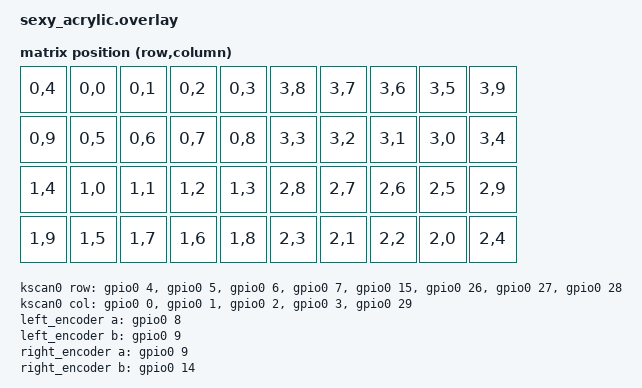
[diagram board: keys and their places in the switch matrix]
/*
 * Copyright (c) 2022 Gleb Sabirzyanov
 *
 * SPDX-License-Identifier: MIT
 */

#include <dt-bindings/zmk/matrix_transform.h>

/ {
	chosen {
		zmk,kscan = &kscan0;
		zmk,matrix_transform = &default_transform;
	};

	kscan0: kscan {
		compatible = "zmk,kscan-gpio-matrix";
		label = "KSCAN";

		diode-direction = "col2row";

    col-gpios
	    = <&gpio0 0 GPIO_ACTIVE_HIGH>
	    , <&gpio0 1 GPIO_ACTIVE_HIGH>
	    , <&gpio0 2 GPIO_ACTIVE_HIGH>
	    , <&gpio0 3 GPIO_ACTIVE_HIGH>
	    , <&gpio0 29 GPIO_ACTIVE_HIGH>
	    ;

    row-gpios
      = <&gpio0 4 (GPIO_ACTIVE_HIGH | GPIO_PULL_DOWN)>
      , <&gpio0 5 (GPIO_ACTIVE_HIGH | GPIO_PULL_DOWN)>
      , <&gpio0 6 (GPIO_ACTIVE_HIGH | GPIO_PULL_DOWN)>
      , <&gpio0 7 (GPIO_ACTIVE_HIGH | GPIO_PULL_DOWN)>
      , <&gpio0 15 (GPIO_ACTIVE_HIGH | GPIO_PULL_DOWN)>
      , <&gpio0 26 (GPIO_ACTIVE_HIGH | GPIO_PULL_DOWN)>
      , <&gpio0 27 (GPIO_ACTIVE_HIGH | GPIO_PULL_DOWN)>
      , <&gpio0 28 (GPIO_ACTIVE_HIGH | GPIO_PULL_DOWN)>
      ;
	};

  default_transform: keymap_transform_0 {
      compatible = "zmk,matrix-transform";
      columns = <10>;
      rows = <4>;
      map = <
        RC(0,4) RC(0,0) RC(0,1) RC(0,2) RC(0,3) RC(3,8) RC(3,7) RC(3,6) RC(3,5) RC(3,9) 
        RC(0,9) RC(0,5) RC(0,6) RC(0,7) RC(0,8) RC(3,3) RC(3,2) RC(3,1) RC(3,0) RC(3,4) 
        RC(1,4) RC(1,0) RC(1,1) RC(1,2) RC(1,3) RC(2,8) RC(2,7) RC(2,6) RC(2,5) RC(2,9) 
        RC(1,9) RC(1,5) RC(1,7) RC(1,6) RC(1,8) RC(2,3) RC(2,1) RC(2,2) RC(2,0) RC(2,4)
      >;
  };

  left_encoder: encoder_left {
    compatible = "alps,ec11";
    label = "LEFT_ENCODER";
    a-gpios = <&gpio0 8 (GPIO_ACTIVE_HIGH | GPIO_PULL_UP)>;
    b-gpios = <&gpio0 9 (GPIO_ACTIVE_HIGH | GPIO_PULL_UP)>;
    resolution = <4>;
  };

  right_encoder: encoder_right {
    compatible = "alps,ec11";
    label = "RIGHT_ENCODER";
    a-gpios = <&gpio0 9 (GPIO_ACTIVE_HIGH | GPIO_PULL_UP)>;
    b-gpios = <&gpio0 14 (GPIO_ACTIVE_HIGH | GPIO_PULL_UP)>;
    resolution = <4>;
  };

  top_encoder: encoder_top {
    compatible = "alps,ec11";
    label = "TOP_ENCODER";
    a-gpios = <&gpio0 10 (GPIO_ACTIVE_HIGH | GPIO_PULL_UP)>;
    b-gpios = <&gpio0 11 (GPIO_ACTIVE_HIGH | GPIO_PULL_UP)>;
    resolution = <2>;
  };

  bottom_encoder: encoder_bottom {
    compatible = "alps,ec11";
    label = "BOTTOM_ENCODER";
    a-gpios = <&gpio0 12 (GPIO_ACTIVE_HIGH | GPIO_PULL_UP)>;
    b-gpios = <&gpio0 13 (GPIO_ACTIVE_HIGH | GPIO_PULL_UP)>;
    resolution = <2>;
  };

  sensors {
    compatible = "zmk,keymap-sensors";
    sensors = <&left_encoder &right_encoder &top_encoder &bottom_encoder>;
  };
};

